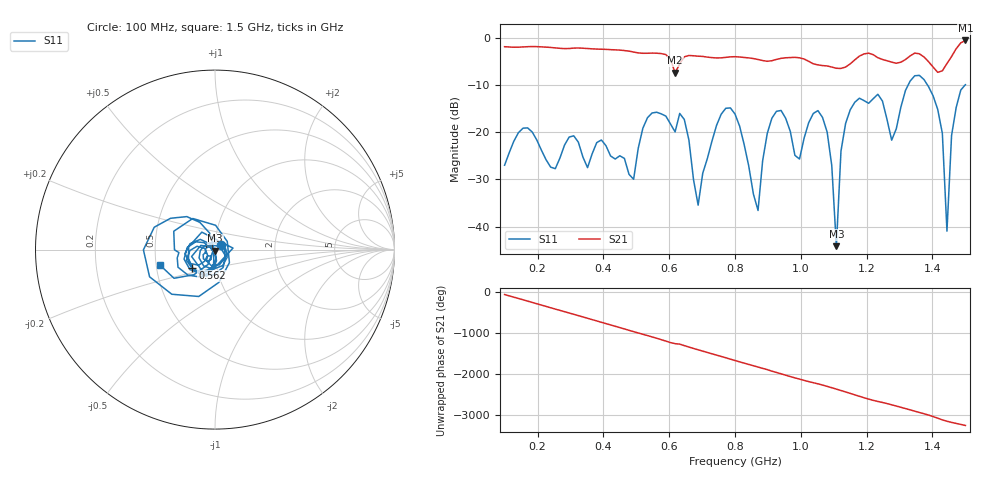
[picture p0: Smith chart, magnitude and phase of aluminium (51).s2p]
! NanoVNA-App
! Date: 2025-09-25 14:55:40
! Start: 100MHz Stop: 1,5GHz Points: 101
! S-Parameter data: F S11 S21 S12 S22
# Hz S RI R 50
!  Frequency  S11_Real  S11_Imag  S21_Real  S21_Imag  S12_Real  S12_Imag  S22_Real  S22_Imag
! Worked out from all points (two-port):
!   101 points, 100 MHz to 1.5 GHz, reference 50 ohm
!   highest |S21| = -0.60 dB at 1.5 GHz (marker M1); lowest = -7.4 dB at 618 MHz (marker M2)
!   |S21| within 3 dB of the highest: start of sweep to 590 MHz; 1.461 GHz to end of sweep (the widest 2 of 4)
!   lowest |S11| = -44.2 dB at 1.108 GHz (marker M3), VSWR 1.01, Z = 50.1 - j0.617 ohm
!   |S11| at or under -10 dB: start of sweep to 1.326 GHz; 1.385 GHz to 1.5 GHz (114.9 MHz wide, 7.97 % of centre)
!   S12 and S22 are empty: the file has one direction only
!   S11 on the Smith chart (normalised r, x): 100 MHz: 1.07, +0.06; 562 MHz: 0.76, -0.16; 1.5 GHz: 0.53, -0.10
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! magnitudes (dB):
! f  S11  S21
! 100 MHz  -27.0  -1.9
! 338 MHz  -25.3  -2.2
! 492 MHz  -30.0  -3.1
! 562 MHz  -15.8  -3.3
! 576 MHz  -16.1  -3.4
! 618 MHz  -20.0  -7.4
! 688 MHz  -35.5  -3.9
! 800 MHz  -16.2  -4.0
! 870 MHz  -36.6  -4.6
! 912 MHz  -17.1  -4.9
! 996 MHz  -25.7  -4.3
! 1.038 GHz  -16.0  -5.5
! 1.08 GHz  -20.0  -6.0
! 1.108 GHz  -44.2  -6.5
! 1.122 GHz  -24.0  -6.5
! 1.15 GHz  -15.3  -5.6
! 1.276 GHz  -21.7  -5.2
! 1.388 GHz  -10.4  -5.1
! 1.43 GHz  -20.3  -7.0
! 1.444 GHz  -41.0  -5.5
! 1.458 GHz  -20.7  -4.0
! 1.5 GHz  -10.0  -0.6
